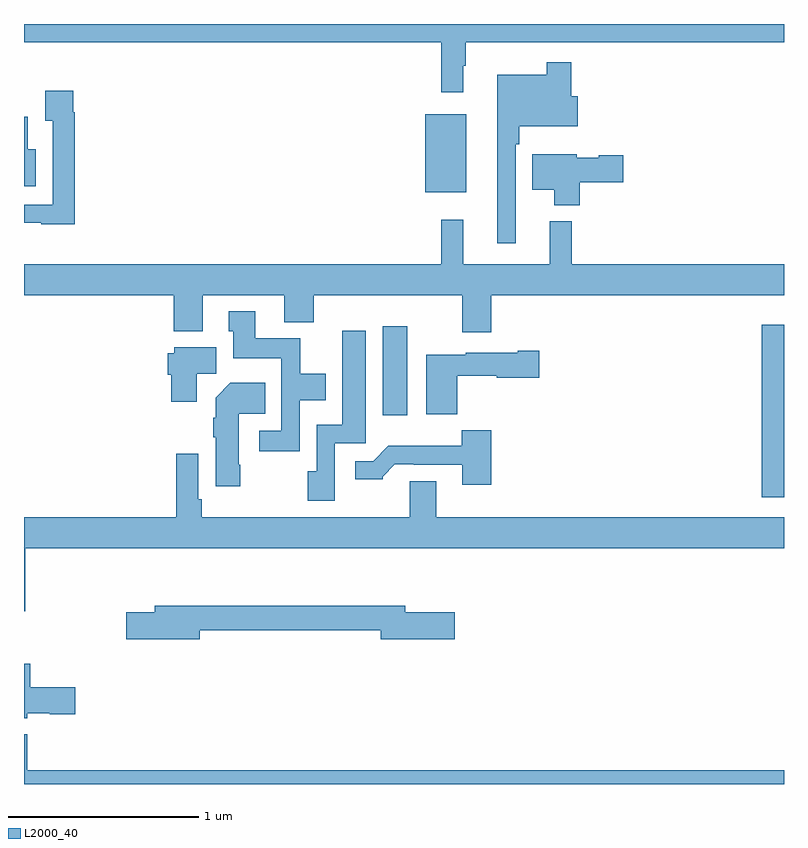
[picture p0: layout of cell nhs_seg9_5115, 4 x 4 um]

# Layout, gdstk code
import gdstk
lib = gdstk.Library(unit=1e-6, precision=1e-09)
def R(c, l, rs):  # rectangles x0, y0, x1, y1
    for r in rs: c.add(gdstk.rectangle(r[:2], r[2:], *l))
def P(c, l, *ps):  # polygons
    for p in ps: c.add(gdstk.Polygon(p, *l))
L2000_40 = (2000, 40)

nhs_seg9_5115 = lib.new_cell('nhs_seg9_5115')
R(nhs_seg9_5115, L2000_40, [(410.882,1210.008,411,1210.918), (408.887,1210.44,409.018,1210.909), (409.112,1211.615,409.327,1212.025)])
P(nhs_seg9_5115, L2000_40, [(409.312,1212.281),(409.324,1212.281),(409.324,1212.404),(411,1212.404),(411,1212.5),(407,1212.5),(407,1212.404),(409.195,1212.404),(409.195,1212.141),(409.312,1212.141)],
  [(409.587,1211.867),(409.607,1211.867),(409.607,1211.963),(409.915,1211.963),(409.915,1212.121),(409.88,1212.121),(409.88,1212.298),(409.752,1212.298),(409.752,1212.232),(409.49,1212.232),(409.49,1211.346),(409.587,1211.346)],
  [(407.267,1212.035),(407.26,1212.035),(407.26,1212.148),(407.111,1212.148),(407.111,1211.992),(407.151,1211.992),(407.151,1211.55),(407,1211.55),(407,1211.454),(407.091,1211.454),(407.091,1211.447),(407.267,1211.447)],
  [(407.062,1211.842),(407.02,1211.842),(407.02,1212.012),(407,1212.012),(407,1211.645),(407.062,1211.645)],
  [(409.925,1211.668),(410.155,1211.668),(410.155,1211.81),(410.025,1211.81),(410.025,1211.797),(409.908,1211.797),(409.908,1211.815),(409.676,1211.815),(409.676,1211.627),(409.79,1211.627),(409.79,1211.546),(409.925,1211.546)],
  [(409.46,1211.072),(411,1211.072),(411,1211.236),(409.883,1211.236),(409.883,1211.461),(409.766,1211.461),(409.766,1211.236),(409.313,1211.236),(409.313,1211.47),(409.195,1211.47),(409.195,1211.236),(407,1211.236),(407,1211.072),(407.789,1211.072),(407.789,1210.883),(407.941,1210.883),(407.941,1211.072),(408.371,1211.072),(408.371,1210.931),(408.524,1210.931),(408.524,1211.072),(409.307,1211.072),(409.307,1210.878),(409.46,1210.878)],
  [(408.45,1210.52),(408.589,1210.52),(408.589,1210.66),(408.453,1210.66),(408.453,1210.846),(408.217,1210.846),(408.217,1210.987),(408.077,1210.987),(408.077,1210.884),(408.101,1210.884),(408.101,1210.742),(408.354,1210.742),(408.354,1210.359),(408.237,1210.359),(408.237,1210.251),(408.45,1210.251)],
  [(408.636,1210.293),(408.799,1210.293),(408.799,1210.885),(408.674,1210.885),(408.674,1210.39),(408.54,1210.39),(408.54,1210.146),(408.493,1210.146),(408.493,1209.99),(408.636,1209.99)],
  [(407.908,1210.66),(408.013,1210.66),(408.013,1210.798),(407.79,1210.798),(407.79,1210.767),(407.756,1210.767),(407.756,1210.653),(407.774,1210.653),(407.774,1210.512),(407.908,1210.512)],
  [(409.28,1210.649),(409.488,1210.649),(409.488,1210.637),(409.711,1210.637),(409.711,1210.779),(409.598,1210.779),(409.598,1210.771),(409.326,1210.771),(409.326,1210.759),(409.118,1210.759),(409.118,1210.445),(409.28,1210.445)],
  [(408.138,1210.18),(408.13,1210.18),(408.13,1210.448),(408.269,1210.448),(408.269,1210.612),(408.086,1210.612),(408.008,1210.534),(408.008,1210.427),(407.996,1210.427),(407.996,1210.324),(408.008,1210.324),(408.008,1210.068),(408.138,1210.068)],
  [(409.46,1210.363),(409.305,1210.363),(409.305,1210.279),(408.916,1210.279),(408.837,1210.2),(408.744,1210.2),(408.744,1210.103),(408.888,1210.103),(408.888,1210.118),(408.952,1210.182),(409.051,1210.182),(409.051,1210.179),(409.307,1210.179),(409.307,1210.074),(409.46,1210.074)],
  [(407.006,1209.74),(411,1209.74),(411,1209.904),(409.171,1209.904),(409.171,1210.094),(409.031,1210.094),(409.031,1209.904),(407.936,1209.904),(407.936,1210),(407.916,1210),(407.916,1210.237),(407.8,1210.237),(407.8,1209.904),(407,1209.904),(407,1209.408),(407.006,1209.408)],
  [(407.926,1209.31),(408.878,1209.31),(408.878,1209.263),(409.267,1209.263),(409.267,1209.405),(409.006,1209.405),(409.006,1209.439),(407.687,1209.439),(407.687,1209.405),(407.538,1209.405),(407.538,1209.263),(407.926,1209.263)],
  [(407.016,1208.873),(407.136,1208.873),(407.136,1208.866),(407.269,1208.866),(407.269,1209.008),(407.033,1209.008),(407.033,1209.133),(407,1209.133),(407,1208.846),(407.016,1208.846)],
  [(411,1208.572),(407.018,1208.572),(407.018,1208.761),(407,1208.761),(407,1208.5),(411,1208.5)])

lib.write_gds('nhs_seg9_5115.gds')
